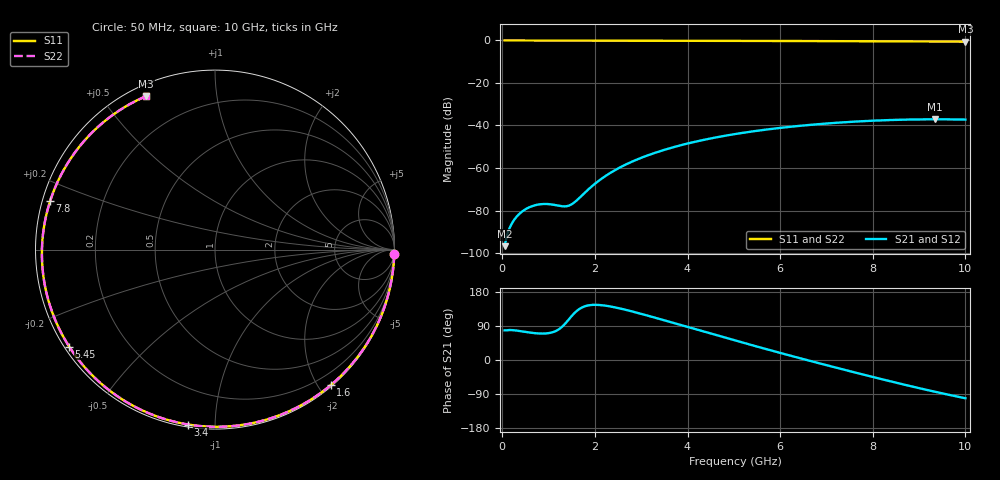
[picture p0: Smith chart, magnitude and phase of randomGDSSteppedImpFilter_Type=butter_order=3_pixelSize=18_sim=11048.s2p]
! freq	dB(S11)	phase(S11)	dB(S12)	phase(S12)
!  dB(S21)	phase(S21)	dB(S22)	phase(S22)
!S-par simulation data
#  GHz  S  DB  R 50
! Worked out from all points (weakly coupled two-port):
!   200 points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, 50 MHz to 10 GHz, reference 50 ohm
!   highest |S21| = -37.10 dB at 9.35 GHz (marker M1); lowest = -96.8 dB at 50 MHz (marker M2)
!   lowest |S11| = -0.6 dB at 10 GHz (marker M3), VSWR 30.72, Z = 2.31 + j32.3 ohm
!   |S11| at or under -10 dB: nowhere
!   |S22| runs from -0.6 to 0.0 dB; largest |S21 - S12| = 0
!   S11 on the Smith chart (normalised r, x): 50 MHz: 1, -74; 1.6 GHz: 0.02, -2.17; 3.4 GHz: 0.01, -0.86; 5.45 GHz: 0.01, -0.30; 7.8 GHz: 0.02, +0.14; 10 GHz: 0.05, +0.65
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0.05  -0.00 -1.5  -96.77 78.3  -96.77 78.3  -0.00 -1.5
0.45  -0.02 -14.2  -80.13 75.1  -80.13 75.1  -0.02 -14.2
0.65  -0.03 -20.5  -77.90 71.6  -77.90 71.6  -0.03 -20.5
0.85  -0.03 -26.8  -76.99 69.7  -76.99 69.7  -0.03 -26.8
1.4  -0.05 -43.6  -77.93 101.7  -77.93 101.7  -0.05 -43.6
1.5  -0.06 -46.6  -77.04 116.2  -77.04 116.2  -0.06 -46.6
1.6  -0.06 -49.6  -75.39 128.6  -75.39 128.6  -0.06 -49.6
1.75  -0.07 -54.0  -72.30 140.2  -72.30 140.2  -0.07 -54.0
2.1  -0.08 -64.0  -65.73 145.2  -65.73 145.2  -0.08 -64.0
2.45  -0.09 -73.8  -60.82 138.4  -60.82 138.4  -0.09 -73.8
2.9  -0.11 -85.9  -56.09 125.0  -56.09 125.0  -0.11 -85.9
3.4  -0.12 -98.8  -52.13 108.2  -52.13 108.2  -0.12 -98.8
4.15  -0.15 -117.0  -47.72 82.0  -47.72 82.0  -0.15 -117.0
5.05  -0.19 -137.6  -43.95 50.7  -43.95 50.7  -0.19 -137.6
5.45  -0.21 -146.4  -42.64 37.1  -42.64 37.1  -0.21 -146.4
6.1  -0.25 -160.3  -40.90 15.4  -40.90 15.4  -0.25 -160.3
6.7  -0.29 -173.0  -39.61 -4.1  -39.61 -4.1  -0.29 -173.0
7.25  -0.33 175.4  -38.68 -21.5  -38.68 -21.5  -0.33 175.4
7.8  -0.38 163.7  -37.96 -38.6  -37.96 -38.6  -0.38 163.7
8.35  -0.42 151.8  -37.45 -55.3  -37.45 -55.3  -0.42 151.8
9.35  -0.51 129.4  -37.10 -84.0  -37.10 -84.0  -0.51 129.4
10  -0.57 114.1  -37.23 -101.0  -37.23 -101.0  -0.57 114.2
